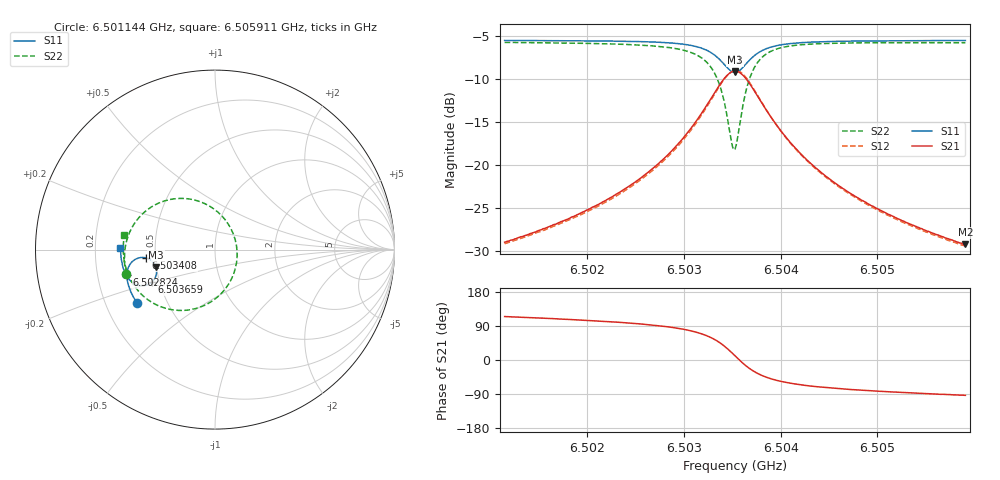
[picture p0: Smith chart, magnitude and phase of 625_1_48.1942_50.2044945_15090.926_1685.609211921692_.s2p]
#  HZ  S  RI  R  50.00
! Rohde & Schwarz Vector Network Analyzer
! Rohde-Schwarz,ZNB20-2Port,1311601062101988,3.16
! Created: UTC 3/20/2024, 12:04:04 PM
! freq[Hz]  re:S11  im:S11  re:S21  im:S21  re:S12  im:S12  re:S22  im:S22
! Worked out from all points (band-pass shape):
!   401 points, 6.501144 GHz to 6.505911 GHz, reference 50 ohm
!   highest |S21| = -9.13 dB at 6.503527 GHz (marker M1); lowest = -29.3 dB at 6.505911 GHz (marker M2)
!   |S21| within 3 dB of the highest: 6.50329 GHz to 6.503766 GHz (476.7 kHz wide, 0.00733 % of centre)
!   lowest |S11| = -9.3 dB at 6.503527 GHz (marker M3), VSWR 2.05, Z = 24.8 - j5.62 ohm
!   |S11| at or under -10 dB: nowhere
!   |S22| runs from -18.3 to -5.8 dB; largest |S21 - S12| = 0.012
!   S11 on the Smith chart (normalised r, x): 6.501144 GHz: 0.34, -0.28; 6.502824 GHz: 0.33, -0.13; 6.503408 GHz: 0.44, -0.05; 6.503659 GHz: 0.45, -0.19; 6.505911 GHz: 0.31, +0.01
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6.5011438e9  -0.4354 -0.2967  -0.0147 0.0322  -0.013 0.0321  -0.4945 -0.1382
6.5019423e9  -0.4684 -0.2359  -0.0139 0.0507  -0.0113 0.0502  -0.5047 -0.0502
6.5023475e9  -0.4821 -0.1992  -0.011 0.069  -0.00794 0.0679  -0.5007 0.00952
6.5027408e9  -0.4907 -0.1543  -0.0007 0.102  0.00313 0.0995  -0.4777 0.0917
6.5028243e9  -0.491 -0.1425  0.00422 0.1127  0.00818 0.1097  -0.4669 0.1148
6.5030269e9  -0.4861 -0.1086  0.0276 0.1482  0.0314 0.1437  -0.4183 0.1844
6.5031699e9  -0.4712 -0.0785  0.0662 0.1826  0.0692 0.1766  -0.3435 0.244
6.5033129e9  -0.4319 -0.0488  0.1504 0.2117  0.1513 0.2054  -0.1901 0.2853
6.5034083e9  -0.3839 -0.0463  0.2444 0.1945  0.2447 0.1897  -0.0273 0.2405
6.5034917e9  -0.3397 -0.0769  0.3248 0.1173  0.3277 0.1131  0.1014 0.0886
6.5035274e9  -0.3286 -0.0997  0.343 0.067  0.347 0.0615  0.1227 -0.00597
6.5035513e9  -0.3255 -0.1167  0.3464 0.0314  0.351 0.0243  0.1202 -0.0715
6.503587e9  -0.3277 -0.1416  0.3386 -0.0203  0.3428 -0.0297  0.0919 -0.1634
6.5036585e9  -0.3507 -0.1802  0.2903 -0.0991  0.2906 -0.1113  -0.0222 -0.2909
6.5037062e9  -0.3719 -0.1942  0.2488 -0.1287  0.2462 -0.1407  -0.1089 -0.3286
6.5037658e9  -0.3978 -0.2011  0.2004 -0.1455  0.195 -0.1559  -0.2045 -0.3388
6.5039207e9  -0.4463 -0.1917  0.1139 -0.1413  0.1064 -0.1468  -0.3601 -0.2886
6.5040876e9  -0.4749 -0.1704  0.0669 -0.1193  0.0604 -0.1218  -0.4359 -0.2203
6.504326e9  -0.4961 -0.1406  0.0355 -0.0932  0.0305 -0.0938  -0.4811 -0.1453
6.5046835e9  -0.5118 -0.1019  0.0157 -0.0683  0.0122 -0.068  -0.5045 -0.0689
6.5051245e9  -0.5212 -0.0601  0.00551 -0.0508  0.00292 -0.0502  -0.5111 -0.00317
6.5059111e9  -0.5266 0.00738  -0.00196 -0.0343  -0.00339 -0.0334  -0.5044 0.0834
